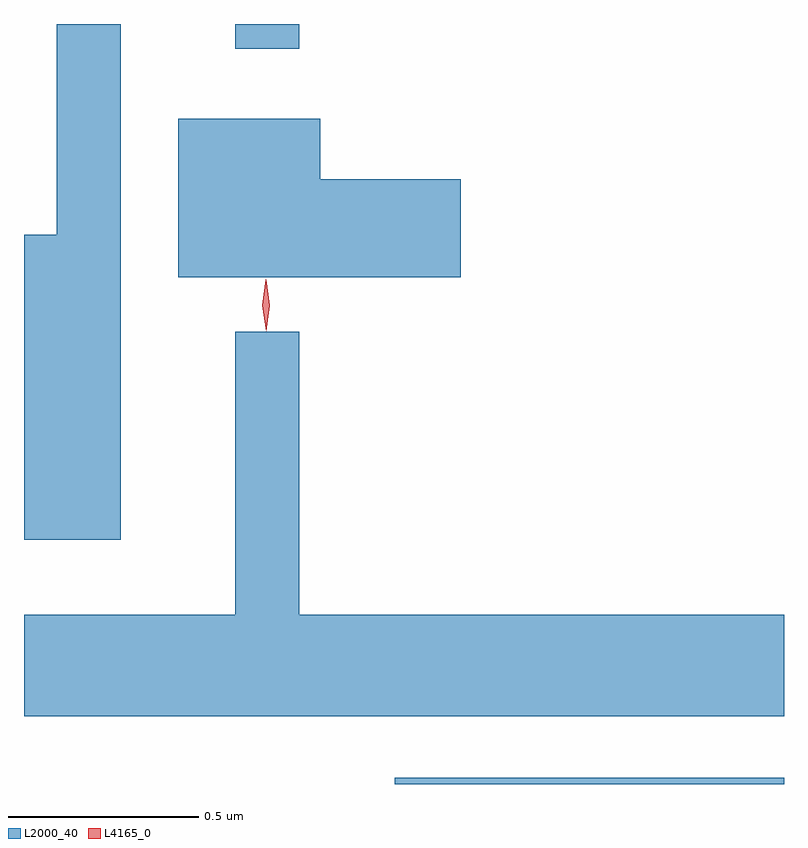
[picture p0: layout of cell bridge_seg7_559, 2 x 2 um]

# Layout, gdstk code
import gdstk
lib = gdstk.Library(unit=1e-6, precision=1e-09)
def R(c, l, rs):  # rectangles x0, y0, x1, y1
    for r in rs: c.add(gdstk.rectangle(r[:2], r[2:], *l))
def P(c, l, *ps):  # polygons
    for p in ps: c.add(gdstk.Polygon(p, *l))
L2000_40 = (2000, 40)
L4165_0 = (4165, 0)

bridge_seg7_559 = lib.new_cell('bridge_seg7_559')
R(bridge_seg7_559, L2000_40, [(856.901,1736.338,857.925,1736.354), (856.481,1738.273,856.649,1738.338)])
P(bridge_seg7_559, L2000_40, [(856.179,1738.338),(856.011,1738.338),(856.011,1737.784),(855.925,1737.784),(855.925,1736.981),(856.179,1736.981)],
  [(857.074,1737.929),(856.704,1737.929),(856.704,1738.089),(856.331,1738.089),(856.331,1737.671),(857.074,1737.671)],
  [(857.925,1736.784),(856.649,1736.784),(856.649,1737.528),(856.481,1737.528),(856.481,1736.784),(855.925,1736.784),(855.925,1736.516),(857.925,1736.516)])
P(bridge_seg7_559, L4165_0, [(856.562,1737.533),(856.562,1737.533),(856.552,1737.596),(856.561,1737.659),(856.562,1737.66),(856.562,1737.659),(856.572,1737.596),(856.563,1737.533)],
  [(856.562,1737.53),(856.562,1737.53),(856.552,1737.598),(856.561,1737.665),(856.561,1737.666),(856.562,1737.665),(856.572,1737.598),(856.563,1737.53)])

lib.write_gds('bridge_seg7_559.gds')
